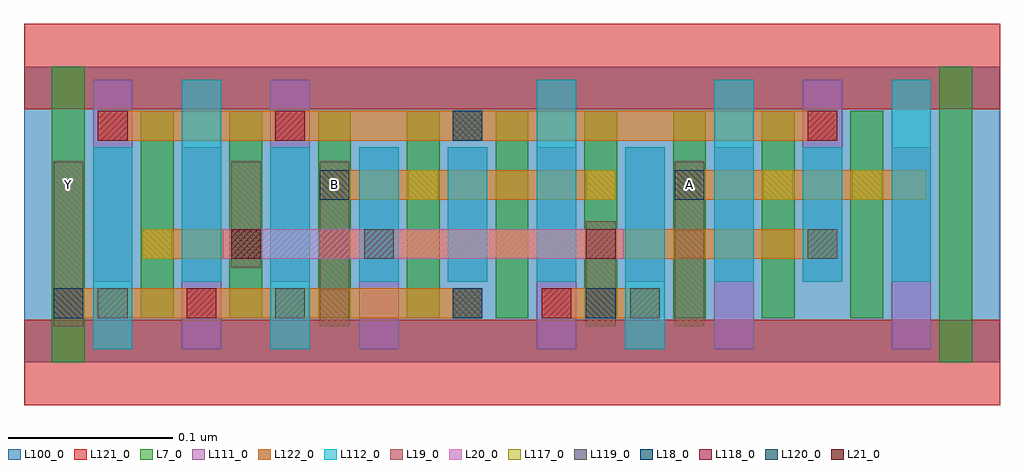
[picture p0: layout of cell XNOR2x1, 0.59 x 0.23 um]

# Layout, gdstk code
import gdstk
lib = gdstk.Library(unit=1e-6, precision=2.5e-10)
def R(c, l, rs):  # rectangles x0, y0, x1, y1
    for r in rs: c.add(gdstk.rectangle(r[:2], r[2:], *l))
def A(c, l, x, y, w, h, nx, ny, dx, dy):  # array of equal rectangles
    R(c, l, [(x+i*dx, y+j*dy, x+i*dx+w, y+j*dy+h) for i in range(nx) for j in range(ny)])
L7_0 = (7, 0)
L18_0 = (18, 0)
L19_0 = (19, 0)
L20_0 = (20, 0)
L21_0 = (21, 0)
L100_0 = (100, 0)
L111_0 = (111, 0)
L112_0 = (112, 0)
L117_0 = (117, 0)
L118_0 = (118, 0)
L119_0 = (119, 0)
L120_0 = (120, 0)
L121_0 = (121, 0)
L122_0 = (122, 0)

xnor2x1 = lib.new_cell('XNOR2x1')
A(xnor2x1, L7_0, 0.071, 0.027, 0.02, 0.126, 9, 1, 0.054, 0)
R(xnor2x1, L7_0, [(0.017,0,0.037,0.18), (0.557,0,0.577,0.18)])
R(xnor2x1, L18_0, [(0.018,0.027,0.036,0.045), (0.342,0.027,0.36,0.045), (0.126,0.063,0.144,0.081), (0.18,0.099,0.198,0.117), (0.396,0.099,0.414,0.117)])
R(xnor2x1, L19_0, [(0.018,0.022,0.036,0.122), (0.18,0.022,0.198,0.122), (0.342,0.022,0.36,0.086), (0.396,0.022,0.414,0.122), (0.126,0.058,0.144,0.122)])
R(xnor2x1, L20_0, [(0.121,0.063,0.365,0.081)])
R(xnor2x1, L21_0, [(0.126,0.063,0.144,0.081), (0.342,0.063,0.36,0.081)])
R(xnor2x1, L100_0, [(0,0,0.594,0.18)])
A(xnor2x1, L111_0, 0.096, 0.008, 0.024, 0.123, 5, 1, 0.108, 0)
R(xnor2x1, L111_0, [(0.042,0.049,0.066,0.172), (0.15,0.049,0.174,0.172), (0.258,0.049,0.282,0.131), (0.366,0.049,0.39,0.131), (0.474,0.049,0.498,0.172)])
A(xnor2x1, L112_0, 0.312, 0.049, 0.024, 0.123, 3, 1, 0.108, 0)
R(xnor2x1, L112_0, [(0.042,0.008,0.066,0.131), (0.15,0.008,0.174,0.131), (0.366,0.008,0.39,0.131), (0.096,0.049,0.12,0.172), (0.204,0.049,0.228,0.131), (0.258,0.049,0.282,0.131), (0.474,0.049,0.498,0.131)])
A(xnor2x1, L117_0, 0.342, 0.099, 0.018, 0.018, 4, 1, 0.054, 0)
R(xnor2x1, L117_0, [(0.072,0.063,0.09,0.081), (0.126,0.063,0.144,0.081), (0.18,0.099,0.198,0.117), (0.234,0.099,0.252,0.117)])
R(xnor2x1, L118_0, [(0.099,0.027,0.117,0.045), (0.315,0.027,0.333,0.045), (0.045,0.135,0.063,0.153), (0.153,0.135,0.171,0.153), (0.477,0.135,0.495,0.153)])
A(xnor2x1, L119_0, 0.045, 0.027, 0.018, 0.018, 4, 1, 0.108, 0)
R(xnor2x1, L119_0, [(0.207,0.063,0.225,0.081), (0.477,0.063,0.495,0.081), (0.261,0.135,0.279,0.153)])
R(xnor2x1, L120_0, [(0.261,0.027,0.279,0.045), (0.261,0.135,0.279,0.153)])
R(xnor2x1, L121_0, [(0,-0.026,0.594,0.026), (0,0.154,0.594,0.206)])
R(xnor2x1, L122_0, [(0.018,0.027,0.279,0.045), (0.315,0.027,0.387,0.045), (0.072,0.063,0.144,0.081), (0.18,0.063,0.495,0.081), (0.18,0.099,0.36,0.117), (0.396,0.099,0.549,0.117), (0.045,0.135,0.495,0.153)])
xnor2x1.add(gdstk.Label('Y', (0.027,0.108), layer=19, texttype=251))
xnor2x1.add(gdstk.Label('B', (0.189,0.108), layer=19, texttype=251))
xnor2x1.add(gdstk.Label('A', (0.405,0.108), layer=19, texttype=251))

lib.write_gds('XNOR2x1.gds')
